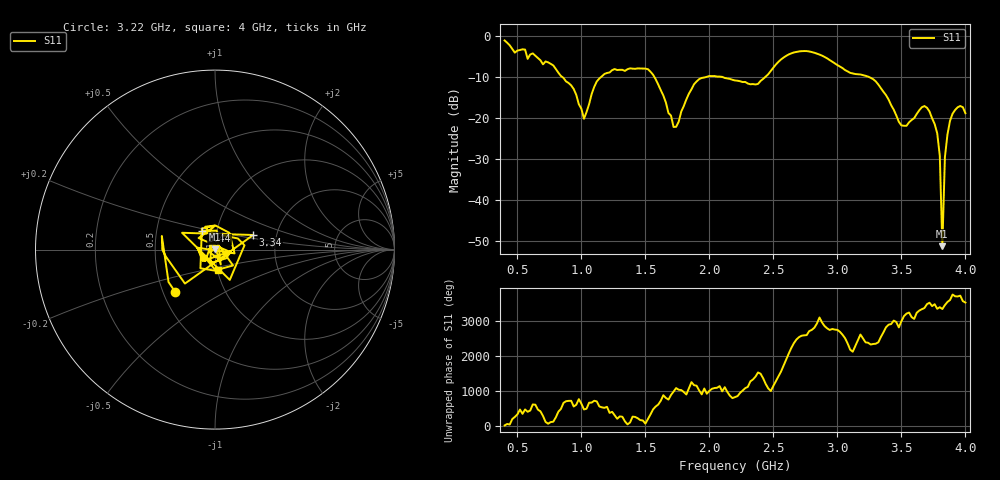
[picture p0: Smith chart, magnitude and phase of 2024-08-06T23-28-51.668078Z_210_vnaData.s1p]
!Created with skrf (http://scikit-rf.org).
# Hz S RI R 50.0
!freq ReS11 ImS11
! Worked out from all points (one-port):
!   181 points, 400 MHz to 4 GHz, reference 50 ohm
!   lowest |S11| = -51.3 dB at 3.82 GHz (marker M1), VSWR 1.01, Z = 50 + j0.271 ohm
!   |S11| at or under -10 dB: 1.568 GHz to 1.986 GHz (417.3 MHz wide, 23.5 % of centre); 2.073 GHz to 2.44 GHz (367.1 MHz wide, 16.3 % of centre); 3.239 GHz to end of sweep (the widest 3 of 4)
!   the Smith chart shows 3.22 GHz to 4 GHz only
!   S11 on the Smith chart (normalised r, x): 3.22 GHz: 0.58, -0.30; 3.34 GHz: 1.51, +0.26; 3.44 GHz: 0.85, +0.18; 4 GHz: 1.00, -0.23
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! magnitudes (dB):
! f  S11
! 400 MHz  -1.2
! 860 MHz  -10.3
! 940 MHz  -13.0
! 1.02 GHz  -20.3
! 1.12 GHz  -11.2
! 1.3 GHz  -8.4
! 1.52 GHz  -8.2
! 1.64 GHz  -14.6
! 1.72 GHz  -22.3
! 1.76 GHz  -21.0
! 1.92 GHz  -10.6
! 2.2 GHz  -10.9
! 2.38 GHz  -11.8
! 2.66 GHz  -4.1
! 3.1 GHz  -9.1
! 3.22 GHz  -9.8
! 3.34 GHz  -12.8
! 3.44 GHz  -18.1
! 3.5 GHz  -21.9
! 3.56 GHz  -21.1
! 3.68 GHz  -17.2
! 3.78 GHz  -23.8
! 3.8 GHz  -29.3
! 3.82 GHz  -51.3
! 3.84 GHz  -29.6
! 3.86 GHz  -24.1
! 3.92 GHz  -18.1
! 4 GHz  -18.9
